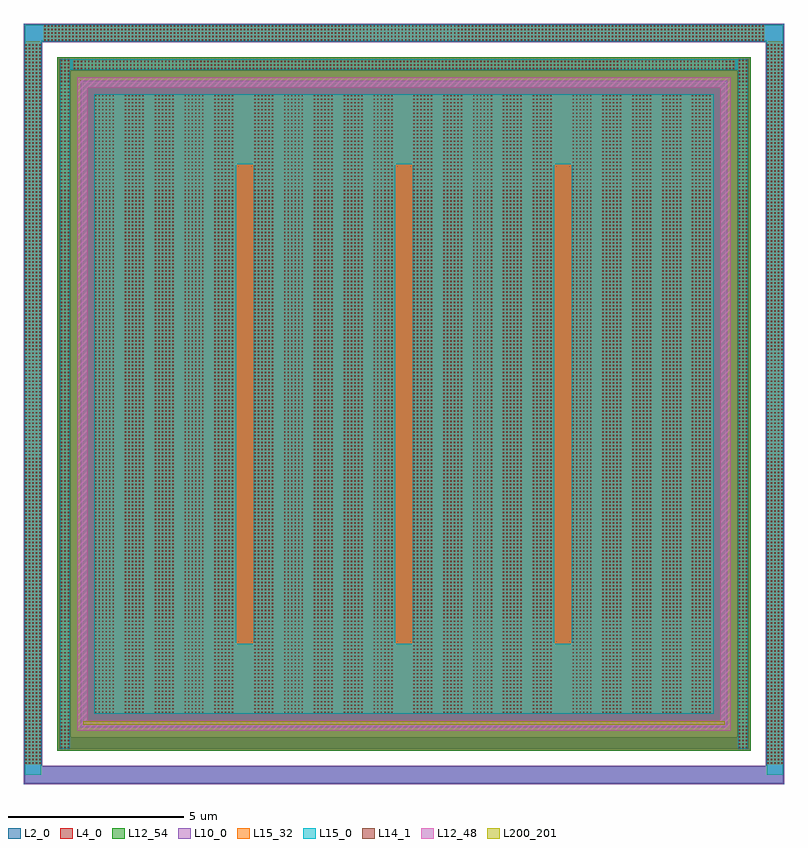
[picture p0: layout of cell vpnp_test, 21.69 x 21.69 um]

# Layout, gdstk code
import gdstk
lib = gdstk.Library(unit=1e-6, precision=1e-09)
def R(c, l, rs):  # rectangles x0, y0, x1, y1
    for r in rs: c.add(gdstk.rectangle(r[:2], r[2:], *l))
def A(c, l, x, y, w, h, nx, ny, dx, dy):  # array of equal rectangles
    R(c, l, [(x+i*dx, y+j*dy, x+i*dx+w, y+j*dy+h) for i in range(nx) for j in range(ny)])
L2_0 = (2, 0)
L4_0 = (4, 0)
L10_0 = (10, 0)
L12_48 = (12, 48)
L12_54 = (12, 54)
L14_1 = (14, 1)
L15_0 = (15, 0)
L15_32 = (15, 32)
L200_201 = (200, 201)

vpnp_test = lib.new_cell('vpnp_test')
R(vpnp_test, L2_0, [(-17.329,-9.359,4.323,-8.879), (-17.329,-8.879,-16.849,11.813), (3.843,-8.879,4.323,11.813), (-16.349,-8.379,3.343,-8.039), (-16.349,-8.039,-16.009,10.973), (3.003,-8.039,3.343,10.973), (-15.653,-7.683,2.647,10.617), (-16.349,10.973,3.343,11.313), (-17.329,11.813,4.323,12.293)])
R(vpnp_test, L4_0, [(-16.405,-8.435,3.399,11.369)])
R(vpnp_test, L10_0, [(-17.35,-9.38,4.344,-8.858), (-17.35,-8.858,-16.828,11.792), (3.822,-8.858,4.344,11.792), (-15.723,-7.753,2.717,10.687), (-17.35,11.792,4.344,12.314)])
R(vpnp_test, L12_48, [(-15.834,-7.864,2.828,-7.558), (-15.834,-7.558,-15.528,10.492), (2.522,-7.558,2.828,10.492), (-15.834,10.492,2.828,10.798)])
R(vpnp_test, L12_54, [(-16.405,-8.435,3.399,11.369)])
A(vpnp_test, L14_1, -17.309, -8.803, 0.04, 0.04, 5, 206, 0.1, 0.1)
A(vpnp_test, L14_1, 3.863, -8.803, 0.04, 0.04, 5, 206, 0.1, 0.1)
A(vpnp_test, L14_1, -16.299, -8.353, 0.04, 0.04, 3, 197, 0.1, 0.1)
A(vpnp_test, L14_1, 3.053, -8.353, 0.04, 0.04, 3, 197, 0.1, 0.1)
A(vpnp_test, L14_1, -15.323, -7.353, 0.04, 0.04, 6, 177, 0.1, 0.1)
A(vpnp_test, L14_1, -14.471, -7.353, 0.04, 0.04, 6, 177, 0.1, 0.1)
A(vpnp_test, L14_1, -13.619, -7.353, 0.04, 0.04, 6, 177, 0.1, 0.1)
A(vpnp_test, L14_1, -12.767, -7.353, 0.04, 0.04, 6, 177, 0.1, 0.1)
A(vpnp_test, L14_1, -11.915, -7.353, 0.04, 0.04, 6, 177, 0.1, 0.1)
A(vpnp_test, L14_1, -10.779, -7.353, 0.04, 0.04, 6, 177, 0.1, 0.1)
A(vpnp_test, L14_1, -9.927, -7.353, 0.04, 0.04, 6, 177, 0.1, 0.1)
A(vpnp_test, L14_1, -9.075, -7.353, 0.04, 0.04, 6, 177, 0.1, 0.1)
A(vpnp_test, L14_1, -8.223, -7.353, 0.04, 0.04, 6, 177, 0.1, 0.1)
A(vpnp_test, L14_1, -7.371, -7.353, 0.04, 0.04, 6, 177, 0.1, 0.1)
A(vpnp_test, L14_1, -6.235, -7.353, 0.04, 0.04, 6, 177, 0.1, 0.1)
A(vpnp_test, L14_1, -5.383, -7.353, 0.04, 0.04, 6, 177, 0.1, 0.1)
A(vpnp_test, L14_1, -4.531, -7.353, 0.04, 0.04, 6, 177, 0.1, 0.1)
A(vpnp_test, L14_1, -3.679, -7.353, 0.04, 0.04, 6, 177, 0.1, 0.1)
A(vpnp_test, L14_1, -2.827, -7.353, 0.04, 0.04, 6, 177, 0.1, 0.1)
A(vpnp_test, L14_1, -1.691, -7.353, 0.04, 0.04, 6, 177, 0.1, 0.1)
A(vpnp_test, L14_1, -0.839, -7.353, 0.04, 0.04, 6, 177, 0.1, 0.1)
A(vpnp_test, L14_1, 0.013, -7.353, 0.04, 0.04, 6, 177, 0.1, 0.1)
A(vpnp_test, L14_1, 0.865, -7.353, 0.04, 0.04, 6, 177, 0.1, 0.1)
A(vpnp_test, L14_1, 1.717, -7.353, 0.04, 0.04, 6, 177, 0.1, 0.1)
A(vpnp_test, L14_1, -15.923, 11.023, 0.04, 0.04, 189, 3, 0.1, 0.1)
A(vpnp_test, L14_1, -16.773, 11.833, 0.04, 0.04, 206, 5, 0.1, 0.1)
A(vpnp_test, L15_0, -15.341, -5.371, 4.044, 13.676, 4, 1, 4.544, 0)
R(vpnp_test, L15_0, [(-17.327,-9.119,-16.851,12.291), (3.845,-9.119,4.321,12.291), (-16.317,-8.371,-16.041,11.305), (3.035,-8.371,3.311,11.305), (-15.341,-7.371,2.335,-5.371), (-15.341,8.305,2.335,10.305), (-16.041,11.005,3.035,11.305), (-16.851,11.815,3.845,12.291)])
R(vpnp_test, L15_32, [(-17.327,-8.821,-16.851,11.815), (3.845,-8.821,4.321,11.815), (-16.317,-8.371,-16.041,11.305), (3.035,-8.371,3.311,11.305), (-15.341,-7.371,2.335,10.305), (-15.941,11.005,2.935,11.281), (-16.791,11.815,3.785,12.291)])
R(vpnp_test, L200_201, [(-15.653,-7.683,2.647,-7.583)])

lib.write_gds('vpnp_test.gds')
